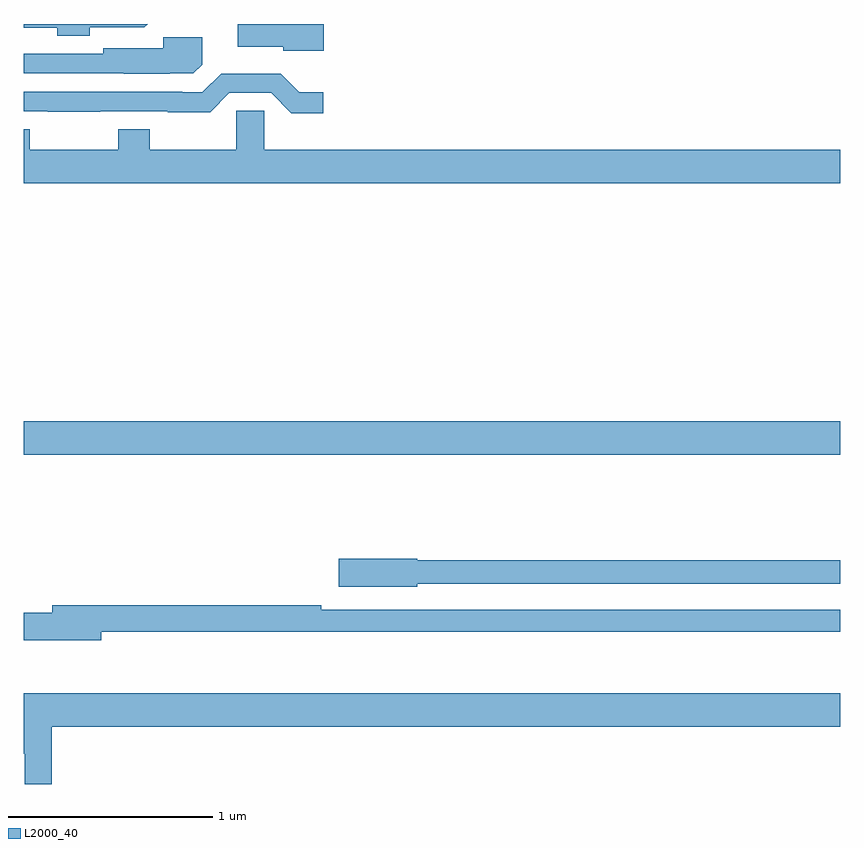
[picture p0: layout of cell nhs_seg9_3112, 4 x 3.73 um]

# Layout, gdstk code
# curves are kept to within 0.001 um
import gdstk
lib = gdstk.Library(unit=1e-6, precision=1e-09)
def R(c, l, rs):  # rectangles x0, y0, x1, y1
    for r in rs: c.add(gdstk.rectangle(r[:2], r[2:], *l))
def P(c, l, *ps):  # polygons
    for p in ps: c.add(gdstk.Polygon(p, *l))
L2000_40 = (2000, 40)

nhs_seg9_3112 = lib.new_cell('nhs_seg9_3112')
R(nhs_seg9_3112, L2000_40, [(289,1228.388,293,1228.552)])
P(nhs_seg9_3112, L2000_40, [(289.323,1230.483),(289.59,1230.483),(289.607,1230.5),(289,1230.5),(289,1230.482),(289.163,1230.482),(289.163,1230.443),(289.323,1230.443)],
  [(290.47,1230.5),(290.048,1230.5),(290.048,1230.389),(290.271,1230.389),(290.271,1230.368),(290.47,1230.368)],
  [(289.715,1230.258),(289.83,1230.258),(289.873,1230.301),(289.873,1230.435),(289.683,1230.435),(289.683,1230.382),(289.389,1230.382),(289.389,1230.354),(289,1230.354),(289,1230.258)],
  [(290.467,1230.165),(290.349,1230.165),(290.258,1230.256),(289.967,1230.257),(289.875,1230.165),(289.775,1230.165),(289.775,1230.168),(289,1230.168),(289,1230.072),(289.705,1230.072),(289.705,1230.068),(289.913,1230.068),(290.007,1230.162),(290.211,1230.162),(290.311,1230.063),(290.467,1230.063)],
  [(293,1229.884),(290.177,1229.884),(290.177,1230.075),(290.041,1230.075),(290.041,1229.884),(289.617,1229.884),(289.617,1229.983),(289.462,1229.983),(289.462,1229.884),(289.029,1229.884),(289.029,1229.983),(289,1229.983),(289,1229.72),(293,1229.72)],
  [(290.928,1227.756),(293,1227.756),(293,1227.872),(290.928,1227.872),(290.928,1227.878),(290.544,1227.878),(290.544,1227.743),(290.928,1227.743)],
  [(289.378,1227.522),(293,1227.522),(293,1227.63),(290.456,1227.63),(290.456,1227.65),(289.139,1227.65),(289.139,1227.614),(289,1227.614),(289,1227.479),(289.378,1227.479)],
  [(289.136,1227.056),(293,1227.056),(293,1227.22),(289,1227.22),(289,1226.924),(289.004,1226.924),(289.004,1226.775),(289.136,1226.775)])

lib.write_gds('nhs_seg9_3112.gds')
